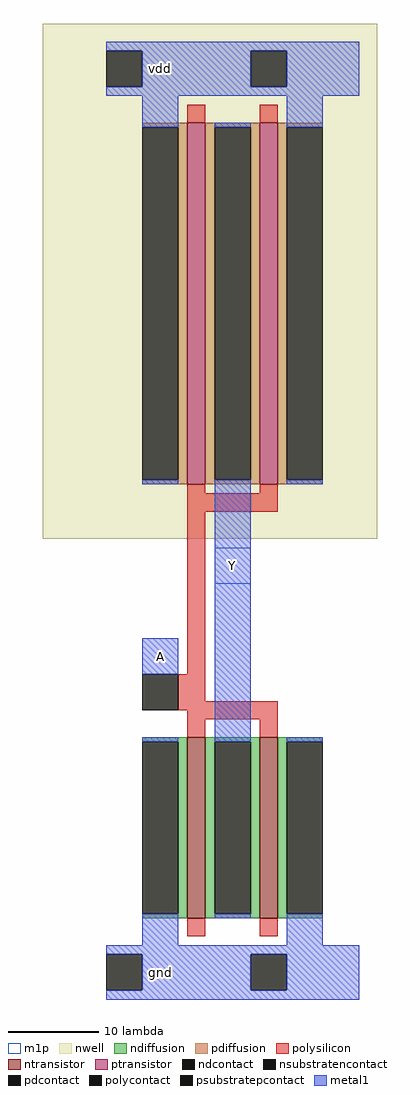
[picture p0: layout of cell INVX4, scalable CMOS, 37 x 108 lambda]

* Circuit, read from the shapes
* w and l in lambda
.subckt INVX4 A Y vdd gnd
M1 Y A gnd gnd nfet w=20 l=2 m=2
M2 Y A vdd vdd pfet w=40 l=2 m=2
.ends

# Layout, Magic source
magic
tech scmos
magscale 1 2
<< nwell >>
rect -18 96 56 210
<< ntransistor >>
rect 14 12 18 52
rect 30 12 34 52
<< ptransistor >>
rect 14 108 18 188
rect 30 108 34 188
<< ndiffusion >>
rect 4 51 14 52
rect 12 13 14 51
rect 4 12 14 13
rect 18 51 30 52
rect 18 13 20 51
rect 28 13 30 51
rect 18 12 30 13
rect 34 51 44 52
rect 34 13 36 51
rect 34 12 44 13
<< pdiffusion >>
rect 4 187 14 188
rect 12 109 14 187
rect 4 108 14 109
rect 18 187 30 188
rect 18 109 20 187
rect 28 109 30 187
rect 18 108 30 109
rect 34 187 44 188
rect 34 109 36 187
rect 34 108 44 109
<< ndcontact >>
rect 4 13 12 51
rect 20 13 28 51
rect 36 13 44 51
<< pdcontact >>
rect 4 109 12 187
rect 20 109 28 187
rect 36 109 44 187
<< psubstratepcontact >>
rect -4 -4 4 4
rect 28 -4 36 4
<< nsubstratencontact >>
rect -4 196 4 204
rect 28 196 36 204
<< polysilicon >>
rect 14 188 18 192
rect 30 188 34 192
rect 14 106 18 108
rect 30 106 34 108
rect 14 102 34 106
rect 14 66 18 102
rect 12 60 18 66
rect 12 58 34 60
rect 14 56 34 58
rect 14 52 18 56
rect 30 52 34 56
rect 14 8 18 12
rect 30 8 34 12
<< polycontact >>
rect 4 58 12 66
<< metal1 >>
rect -4 204 52 206
rect 4 196 28 204
rect 36 196 52 204
rect -4 194 52 196
rect 4 187 12 194
rect 4 108 12 109
rect 20 187 28 188
rect 4 66 12 74
rect 4 51 12 52
rect 4 6 12 13
rect 20 51 28 109
rect 36 187 44 194
rect 36 108 44 109
rect 20 12 28 13
rect 36 51 44 52
rect 36 6 44 13
rect -4 4 52 6
rect 4 -4 28 4
rect 36 -4 52 4
rect -4 -6 52 -4
<< m1p >>
rect 20 86 28 94
rect 4 66 12 74
<< labels >>
rlabel metal1 8 200 8 200 4 vdd
port 3 se
rlabel metal1 8 0 8 0 4 gnd
port 4 se
rlabel metal1 24 90 24 90 4 Y
port 2 se
rlabel metal1 8 70 8 70 4 A
port 1 se
<< end >>
